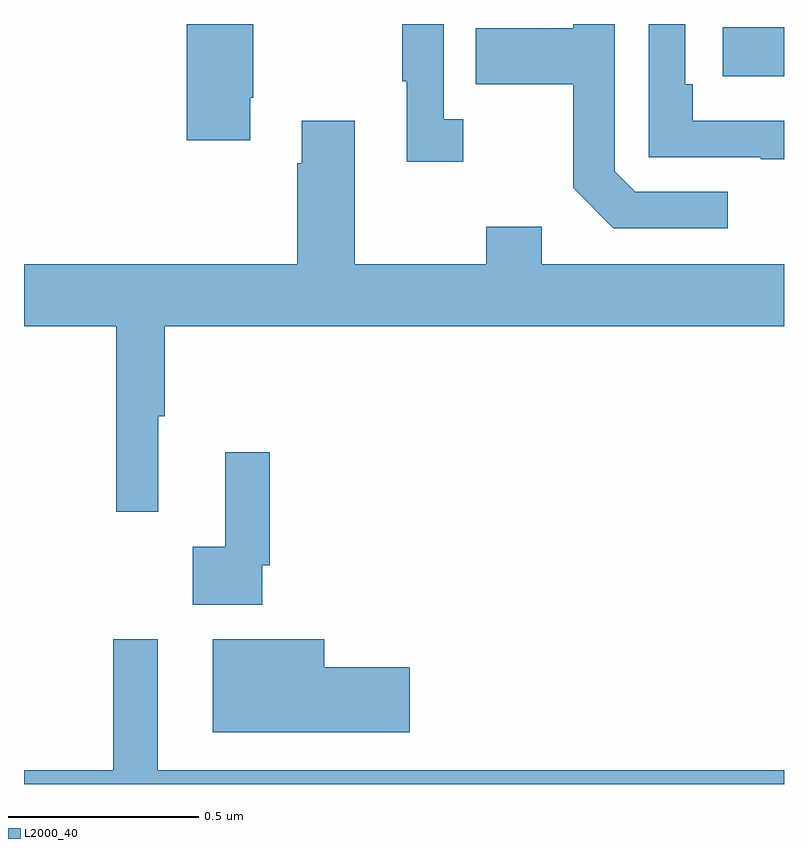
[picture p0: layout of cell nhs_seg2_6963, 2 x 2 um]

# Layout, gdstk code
import gdstk
lib = gdstk.Library(unit=1e-6, precision=1e-09)
def R(c, l, rs):  # rectangles x0, y0, x1, y1
    for r in rs: c.add(gdstk.rectangle(r[:2], r[2:], *l))
def P(c, l, *ps):  # polygons
    for p in ps: c.add(gdstk.Polygon(p, *l))
L2000_40 = (2000, 40)

nhs_seg2_6963 = lib.new_cell('nhs_seg2_6963')
R(nhs_seg2_6963, L2000_40, [(199.839,613.662,200,613.792)])
P(nhs_seg2_6963, L2000_40, [(200,613.545),(199.76,613.545),(199.76,613.642),(199.74,613.642),(199.74,613.8),(199.644,613.8),(199.644,613.449),(199.939,613.449),(199.939,613.444),(200,613.444)],
  [(199.156,613.55),(199.104,613.55),(199.104,613.8),(198.996,613.8),(198.996,613.649),(199.007,613.649),(199.007,613.437),(199.156,613.437)],
  [(199.852,613.359),(199.608,613.359),(199.554,613.413),(199.554,613.8),(199.446,613.8),(199.446,613.789),(199.189,613.789),(199.189,613.642),(199.446,613.642),(199.446,613.369),(199.551,613.263),(199.852,613.263)],
  [(198.595,613.606),(198.603,613.606),(198.603,613.8),(198.428,613.8),(198.428,613.494),(198.595,613.494)],
  [(198.353,612.768),(198.371,612.768),(198.371,613.004),(200,613.004),(200,613.168),(199.363,613.168),(199.363,613.267),(199.216,613.267),(199.216,613.168),(198.871,613.168),(198.871,613.546),(198.731,613.546),(198.731,613.433),(198.719,613.433),(198.719,613.168),(198,613.168),(198,613.004),(198.243,613.004),(198.243,612.516),(198.353,612.516)],
  [(198.627,612.376),(198.647,612.376),(198.647,612.673),(198.53,612.673),(198.53,612.425),(198.444,612.425),(198.444,612.272),(198.627,612.272)],
  [(200,611.836),(198.352,611.836),(198.352,612.181),(198.235,612.181),(198.235,611.836),(198,611.836),(198,611.8),(200,611.8)],
  [(199.015,612.107),(198.79,612.107),(198.79,612.181),(198.497,612.181),(198.497,611.936),(199.015,611.936)])

lib.write_gds('nhs_seg2_6963.gds')
